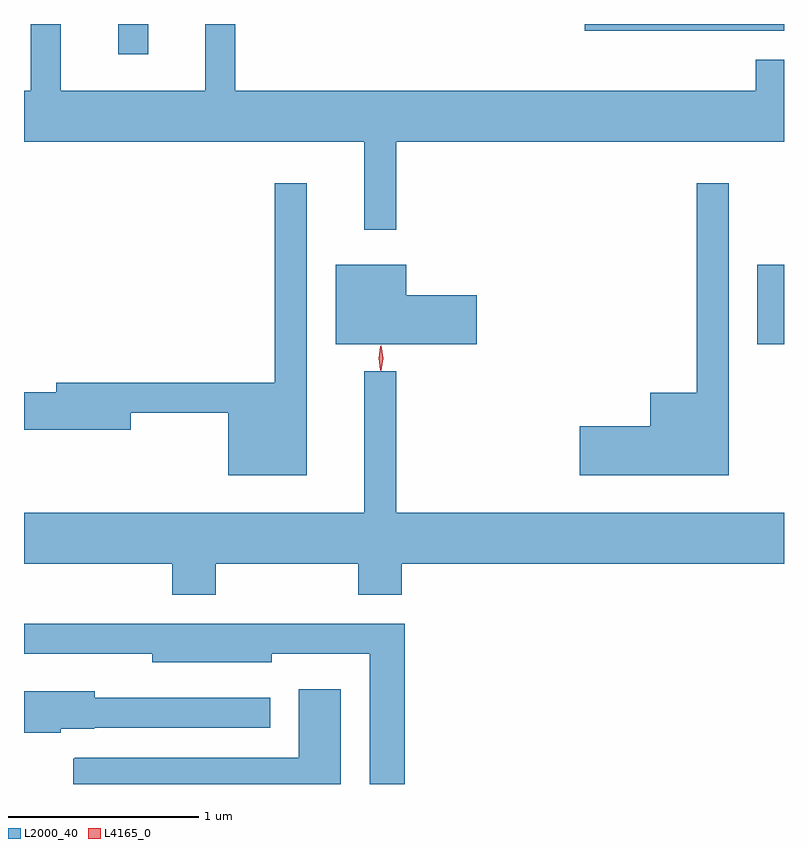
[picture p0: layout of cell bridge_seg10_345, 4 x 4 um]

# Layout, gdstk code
import gdstk
lib = gdstk.Library(unit=1e-6, precision=1e-09)
def R(c, l, rs):  # rectangles x0, y0, x1, y1
    for r in rs: c.add(gdstk.rectangle(r[:2], r[2:], *l))
def P(c, l, *ps):  # polygons
    for p in ps: c.add(gdstk.Polygon(p, *l))
L2000_40 = (2000, 40)
L4165_0 = (4165, 0)

bridge_seg10_345 = lib.new_cell('bridge_seg10_345')
R(bridge_seg10_345, L2000_40, [(1260.741,2155.031,1260.881,2155.449), (1257.376,2156.558,1257.534,2156.716), (1259.831,2156.681,1260.881,2156.716)])
P(bridge_seg10_345, L2000_40, [(1258.839,2156.096),(1260.881,2156.096),(1260.881,2156.529),(1260.731,2156.529),(1260.731,2156.364),(1257.994,2156.364),(1257.994,2156.716),(1257.836,2156.716),(1257.836,2156.364),(1257.074,2156.364),(1257.074,2156.716),(1256.916,2156.716),(1256.916,2156.364),(1256.881,2156.364),(1256.881,2156.096),(1258.671,2156.096),(1258.671,2155.633),(1258.839,2155.633)],
  [(1260.589,2155.878),(1260.421,2155.878),(1260.421,2154.774),(1260.176,2154.774),(1260.176,2154.599),(1259.806,2154.599),(1259.806,2154.341),(1260.589,2154.341)],
  [(1258.369,2155.878),(1258.201,2155.878),(1258.201,2154.829),(1257.051,2154.829),(1257.051,2154.779),(1256.881,2154.779),(1256.881,2154.581),(1257.444,2154.581),(1257.444,2154.671),(1257.956,2154.671),(1257.956,2154.341),(1258.369,2154.341)],
  [(1259.264,2155.289),(1258.894,2155.289),(1258.894,2155.449),(1258.521,2155.449),(1258.521,2155.031),(1259.264,2155.031)],
  [(1257.889,2153.876),(1258.641,2153.876),(1258.641,2153.711),(1258.869,2153.711),(1258.869,2153.876),(1260.881,2153.876),(1260.881,2154.144),(1258.839,2154.144),(1258.839,2154.888),(1258.671,2154.888),(1258.671,2154.144),(1256.881,2154.144),(1256.881,2153.876),(1257.661,2153.876),(1257.661,2153.711),(1257.889,2153.711)],
  [(1258.884,2153.559),(1256.881,2153.559),(1256.881,2153.401),(1257.556,2153.401),(1257.556,2153.356),(1258.184,2153.356),(1258.184,2153.401),(1258.701,2153.401),(1258.701,2152.716),(1258.884,2152.716)],
  [(1258.549,2153.214),(1258.326,2153.214),(1258.326,2152.854),(1257.147,2152.854),(1257.141,2152.849),(1257.141,2152.716),(1258.549,2152.716)],
  [(1257.074,2153.006),(1257.25,2153.006),(1257.25,2153.011),(1258.178,2153.011),(1258.178,2153.169),(1257.254,2153.169),(1257.254,2153.204),(1256.881,2153.204),(1256.881,2152.986),(1257.074,2152.986)])
P(bridge_seg10_345, L4165_0, [(1258.76,2154.89),(1258.76,2154.89),(1258.751,2154.958),(1258.762,2155.026),(1258.762,2155.026),(1258.762,2155.026),(1258.771,2154.958),(1258.761,2154.89)],
  [(1258.758,2154.893),(1258.757,2154.894),(1258.748,2154.956),(1258.757,2155.019),(1258.758,2155.02),(1258.758,2155.019),(1258.768,2154.956),(1258.758,2154.894)])

lib.write_gds('bridge_seg10_345.gds')
